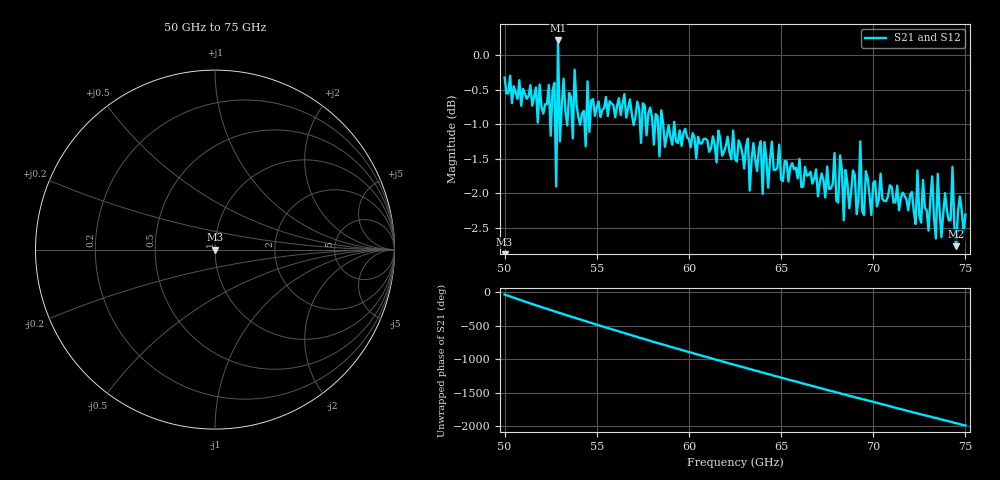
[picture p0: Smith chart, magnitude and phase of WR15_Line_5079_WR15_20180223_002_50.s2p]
# GHZ S RI R 50
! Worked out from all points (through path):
!   251 points, 50 GHz to 75 GHz, reference 50 ohm
!   highest |S21| = 0.21 dB at 52.9 GHz (marker M1); lowest = -2.8 dB at 74.5 GHz (marker M2)
!   lowest |S11| = - dB at 50 GHz (marker M3), VSWR 1.00, Z = 50 + j2.15e-16 ohm
!   |S11| at or under -10 dB: start of sweep to end of sweep
!   |S22| runs from - to - dB; largest |S21 - S12| = 2.2e-15
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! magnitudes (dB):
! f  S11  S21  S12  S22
! 50 GHz  -  -0.3  -0.3  -
! 52.4 GHz  -  -0.4  -0.4  -
! 52.5 GHz  -  -1.2  -1.2  -
! 52.7 GHz  -  -0.4  -0.4  -
! 52.8 GHz  -  -1.9  -1.9  -
! 52.9 GHz  -  0.2  0.2  -
! 53 GHz  -  -1.2  -1.2  -
! 53.2 GHz  -  -0.3  -0.3  -
! 54.2 GHz  -  -0.8  -0.8  -
! 58.4 GHz  -  -1.5  -1.5  -
! 62.5 GHz  -  -1.5  -1.5  -
! 66.7 GHz  -  -1.9  -1.9  -
! 70.9 GHz  -  -1.9  -1.9  -
! 72.4 GHz  -  -1.7  -1.7  -
! 73 GHz  -  -2.5  -2.5  -
! 73.2 GHz  -  -1.8  -1.8  -
! 73.4 GHz  -  -2.7  -2.7  -
! 73.5 GHz  -  -1.7  -1.7  -
! 73.7 GHz  -  -2.6  -2.6  -
! 74.3 GHz  -  -1.6  -1.6  -
! 74.5 GHz  -  -2.8  -2.8  -
! 75 GHz  -  -2.3  -2.3  -
